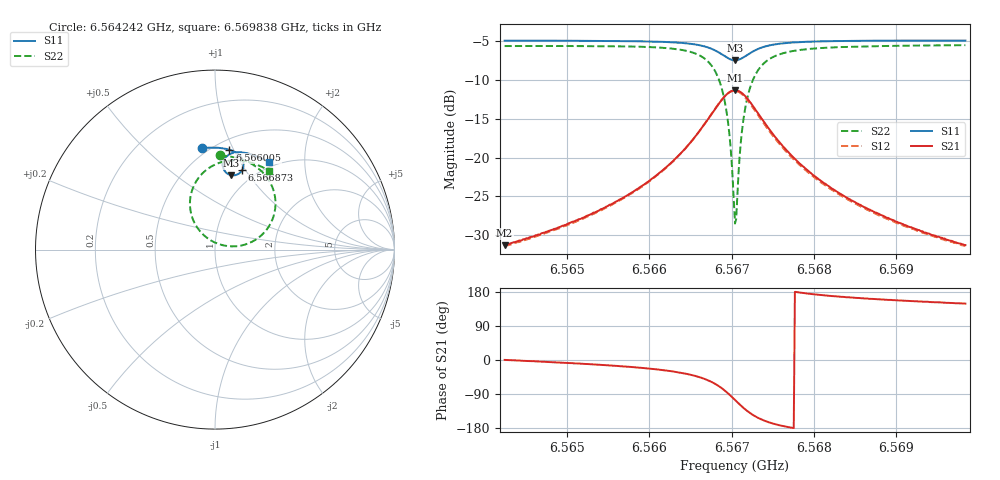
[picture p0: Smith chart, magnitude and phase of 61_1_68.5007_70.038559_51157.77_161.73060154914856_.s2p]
#  HZ  S  RI  R  50.00
! Rohde & Schwarz Vector Network Analyzer
! Rohde-Schwarz,ZNB20-2Port,1311601062101988,3.16
! Created: UTC 3/20/2024, 5:06:23 PM
! freq[Hz]  re:S11  im:S11  re:S21  im:S21  re:S12  im:S12  re:S22  im:S22
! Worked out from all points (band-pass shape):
!   401 points, 6.564242 GHz to 6.569838 GHz, reference 50 ohm
!   highest |S21| = -11.30 dB at 6.56704 GHz (marker M1); lowest = -31.3 dB at 6.564242 GHz (marker M2)
!   |S21| within 3 dB of the highest: 6.566762 GHz to 6.567321 GHz (559 kHz wide, 0.00851 % of centre)
!   lowest |S11| = -7.4 dB at 6.56704 GHz (marker M3), VSWR 2.47, Z = 40.9 + j41.4 ohm
!   |S11| at or under -10 dB: nowhere
!   |S22| runs from -28.5 to -5.5 dB; largest |S21 - S12| = 0.013
!   S11 on the Smith chart (normalised r, x): 6.564242 GHz: 0.46, +0.77; 6.566005 GHz: 0.59, +0.96; 6.566873 GHz: 0.85, +0.97; 6.569838 GHz: 0.92, +1.33
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6.5642424e9  -0.0716 0.5644  0.0271 0.000128  0.0267 -0.00038  0.0277 0.5245
6.5651798e9  0.00463 0.5679  0.0399 -0.0069  0.0394 -0.00757  0.115 0.5125
6.5660052e9  0.0803 0.5565  0.0656 -0.0276  0.0645 -0.0283  0.218 0.4692
6.5661171e9  0.092 0.5526  0.0715 -0.0339  0.0704 -0.0347  0.2364 0.4561
6.5664109e9  0.125 0.5351  0.0909 -0.0631  0.0895 -0.0643  0.2921 0.3986
6.5666347e9  0.1509 0.5062  0.1053 -0.1132  0.1028 -0.1153  0.333 0.3018
6.5667746e9  0.1592 0.4732  0.0985 -0.1708  0.0944 -0.174  0.328 0.1917
6.5668726e9  0.1511 0.4425  0.0671 -0.2234  0.0599 -0.2262  0.2725 0.0934
6.5669565e9  0.1267 0.4196  0.0085 -0.2603  -0.00185 -0.2605  0.1655 0.0275
6.5669845e9  0.115 0.4151  -0.0173 -0.2663  -0.0283 -0.2646  0.1189 0.0187
6.5670265e9  0.0957 0.4137  -0.0587 -0.2655  -0.0699 -0.2609  0.0455 0.0237
6.5670404e9  0.0891 0.4147  -0.0724 -0.2625  -0.0833 -0.257  0.0216 0.0306
6.5670544e9  0.0829 0.4164  -0.0857 -0.258  -0.0963 -0.2516  -0.00145 0.0399
6.5670684e9  0.0769 0.4189  -0.0985 -0.2524  -0.1087 -0.2451  -0.0232 0.0512
6.5671104e9  0.061 0.4298  -0.132 -0.2291  -0.1399 -0.2196  -0.0783 0.0965
6.5671524e9  0.0502 0.4444  -0.156 -0.1992  -0.1613 -0.1888  -0.1156 0.1516
6.5672083e9  0.0437 0.4655  -0.1728 -0.1576  -0.175 -0.1472  -0.1377 0.2264
6.5672783e9  0.0459 0.4891  -0.1757 -0.1113  -0.1749 -0.1025  -0.1342 0.307
6.5675301e9  0.0843 0.5325  -0.1331 -0.0247  -0.1303 -0.0207  -0.0376 0.4519
6.5679778e9  0.145 0.5421  -0.0777 0.00827  -0.0758 0.00954  0.0905 0.497
6.5689151e9  0.2308 0.5204  -0.0375 0.0146  -0.0367 0.015  0.2201 0.478
6.5698385e9  0.2982 0.4868  -0.0233 0.0141  -0.0228 0.0143  0.299 0.4404
